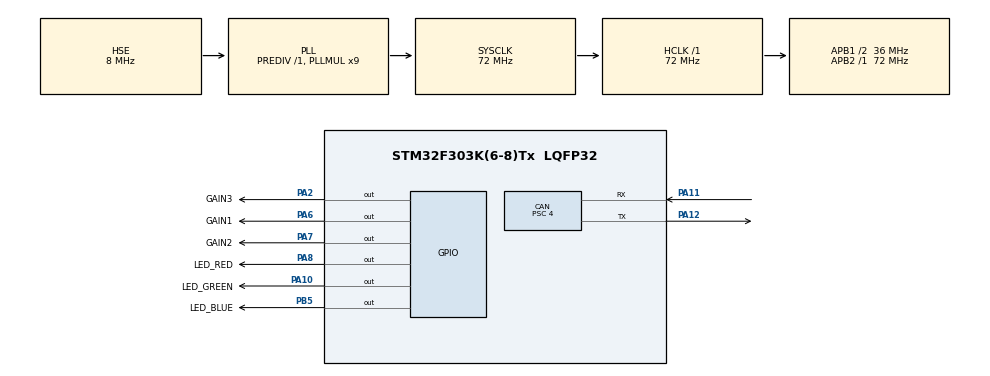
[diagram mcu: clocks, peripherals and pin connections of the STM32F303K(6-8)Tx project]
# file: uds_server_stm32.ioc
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CAN.BS1=CAN_BS1_7TQ
CAN.CalculateTimeQuantum=111.11111111111111
CAN.Prescaler=4
Mcu.Family=STM32F3
Mcu.Name=STM32F303K(6-8)Tx
Mcu.Package=LQFP32
NVIC.CAN_RX0_IRQn=true\:0\:0\:false\:false\:true\:true
NVIC.PriorityGroup=NVIC_PRIORITYGROUP_4
PA1.GPIO_Label=SIM_SYNC
PA1.Signal=S_TIM2_CH2
PA10.GPIO_Label=LED_GREEN
PA10.Signal=GPIO_Output
PA11.Mode=Master
PA11.Signal=CAN_RX
PA12.Mode=Master
PA12.Signal=CAN_TX
PA13.GPIO_Label=SWDIO
PA13.Mode=Trace_Asynchronous_SW
PA13.Signal=SYS_JTMS-SWDIO
PA14.GPIO_Label=SWCLK
PA14.Mode=Trace_Asynchronous_SW
PA14.Signal=SYS_JTCK-SWCLK
PA2.GPIO_Label=GAIN3
PA2.Signal=GPIO_Output
PA4.GPIO_Label=ADC_IR_CURR
PA4.Signal=ADC2_IN1
PA6.GPIO_Label=GAIN1
PA6.Signal=GPIO_Output
PA7.GPIO_Label=GAIN2
PA7.Signal=GPIO_Output
PA8.GPIO_Label=LED_RED
PA8.Signal=GPIO_Output
PB1.GPIO_Label=SIGNAL_OUT
PB1.Signal=S_TIM3_CH4
PB3.GPIO_Label=TRACESWO
PB3.Mode=Trace_Asynchronous_SW
PB3.Signal=SYS_JTDO-TRACESWO
PB4.Signal=S_TIM16_CH1
PB5.GPIO_Label=LED_BLUE
PB5.Signal=GPIO_Output
PB7.Signal=USART1_RX
PF0\ /\ OSC_IN.GPIO_Label=OSC_IN
PF0\ /\ OSC_IN.Mode=HSE-External-Clock-Source
PF0\ /\ OSC_IN.Signal=RCC_OSC_IN
ProjectManager.HeapSize=0x200
ProjectManager.StackSize=0x400
ProjectManager.TargetToolchain=TrueSTUDIO
RCC.AHBFreq_Value=72000000
RCC.APB1CLKDivider=RCC_HCLK_DIV2
RCC.APB1Freq_Value=36000000
RCC.APB1TimFreq_Value=72000000
RCC.APB2Freq_Value=72000000
RCC.APB2TimFreq_Value=72000000
RCC.CortexFreq_Value=72000000
RCC.HCLKFreq_Value=72000000
RCC.HSE_VALUE=8000000
RCC.HSI_VALUE=8000000
RCC.PLLMUL=RCC_PLL_MUL9
RCC.PLLSourceVirtual=RCC_PLLSOURCE_HSE
RCC.SYSCLKFreq_VALUE=72000000
RCC.SYSCLKSourceVirtual=RCC_SYSCLKSOURCE_PLLCLK
RCC.Usart1ClockSelection=RCC_USART1CLKSOURCE_SYSCLK
SH.S_TIM16_CH1.0=TIM16_CH1
SH.S_TIM2_CH2.0=TIM2_CH2
SH.S_TIM3_CH4.0=TIM3_CH4
board=custom

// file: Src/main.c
/**
  ******************************************************************************
  * @file           : main.c
  * @brief          : Main program body
  ******************************************************************************
  ** This notice applies to any and all portions of this file
  * that are not between comment pairs USER CODE BEGIN and
  * USER CODE END. Other portions of this file, whether
  * inserted by the user or by software development tools
  * are owned by their respective copyright owners.
  *
  * COPYRIGHT(c) 2019 STMicroelectronics
  *
  * Redistribution and use in source and binary forms, with or without modification,
  * are permitted provided that the following conditions are met:
  *   1. Redistributions of source code must retain the above copyright notice,
  *      this list of conditions and the following disclaimer.
  *   2. Redistributions in binary form must reproduce the above copyright notice,
  *      this list of conditions and the following disclaimer in the documentation
  *      and/or other materials provided with the distribution.
  *   3. Neither the name of STMicroelectronics nor the names of its contributors
  *      may be used to endorse or promote products derived from this software
  *      without specific prior written permission.
  *
  * THIS SOFTWARE IS PROVIDED BY THE COPYRIGHT HOLDERS AND CONTRIBUTORS "AS IS"
  * AND ANY EXPRESS OR IMPLIED WARRANTIES, INCLUDING, BUT NOT LIMITED TO, THE
  * IMPLIED WARRANTIES OF MERCHANTABILITY AND FITNESS FOR A PARTICULAR PURPOSE ARE
  * DISCLAIMED. IN NO EVENT SHALL THE COPYRIGHT HOLDER OR CONTRIBUTORS BE LIABLE
  * FOR ANY DIRECT, INDIRECT, INCIDENTAL, SPECIAL, EXEMPLARY, OR CONSEQUENTIAL
  * DAMAGES (INCLUDING, BUT NOT LIMITED TO, PROCUREMENT OF SUBSTITUTE GOODS OR
  * SERVICES; LOSS OF USE, DATA, OR PROFITS; OR BUSINESS INTERRUPTION) HOWEVER
  * CAUSED AND ON ANY THEORY OF LIABILITY, WHETHER IN CONTRACT, STRICT LIABILITY,
  * OR TORT (INCLUDING NEGLIGENCE OR OTHERWISE) ARISING IN ANY WAY OUT OF THE USE
  * OF THIS SOFTWARE, EVEN IF ADVISED OF THE POSSIBILITY OF SUCH DAMAGE.
  *
  ******************************************************************************
  */
#include "main.h"
#include "stm32f3xx_hal.h"

/* USER CODE BEGIN Includes */
#include <linux/can.h>
#include <linux/can/raw.h>

#include "uds-server.h"
/* USER CODE END Includes */

CAN_HandleTypeDef hcan;

/* USER CODE BEGIN PV */
/* Private variables ---------------------------------------------------------*/
CAN_RxHeaderTypeDef RxMessage;
struct canfd_frame frame;
/* USER CODE END PV */

void SystemClock_Config(void);
static void MX_GPIO_Init(void);
static void MX_CAN_Init(void);

/* USER CODE BEGIN PFP */
/* Private function prototypes -----------------------------------------------*/
/* USER CODE END PFP */

int main(void)
{

  /* MCU Configuration----------------------------------------------------------*/

  /* Reset of all peripherals, Initializes the Flash interface and the Systick. */
  HAL_Init();

  /* Configure the system clock */
  SystemClock_Config();

  /* Initialize all configured peripherals */
  MX_GPIO_Init();
  MX_CAN_Init();
  /* USER CODE BEGIN 2 */
  if (HAL_CAN_Init(&hcan) != HAL_OK) {
    Error_Handler();
  }

  /*##-2- Configure the CAN Filter ###########################################*/
  CAN_FilterTypeDef  sFilterConfig;
  sFilterConfig.FilterBank = 0;
  sFilterConfig.FilterMode = CAN_FILTERMODE_IDMASK;
  sFilterConfig.FilterScale = CAN_FILTERSCALE_32BIT;
  sFilterConfig.FilterIdHigh = 0x0000;
  sFilterConfig.FilterIdLow = 0x0000;
  sFilterConfig.FilterMaskIdHigh = 0x0000;
  sFilterConfig.FilterMaskIdLow = 0x0000;
  sFilterConfig.FilterFIFOAssignment = CAN_RX_FIFO0;
  sFilterConfig.FilterActivation = ENABLE;
  sFilterConfig.SlaveStartFilterBank = 14;

  if (HAL_CAN_ConfigFilter(&hcan, &sFilterConfig) != HAL_OK)
  {
    /* Filter configuration Error */
    Error_Handler();
  }

  if (HAL_CAN_Start(&hcan) != HAL_OK) {
    Error_Handler();
  }
  /* USER CODE END 2 */

  /* Infinite loop */
  while (1)
  {
    if (HAL_CAN_GetRxMessage(&hcan, CAN_RX_FIFO0, &RxMessage, frame.data) == HAL_OK) {
      frame.len = RxMessage.DLC;
      frame.can_id = RxMessage.ExtId;
      handle_pkt(frame);
    }
    handle_pending_data();
    /*uint8_t data[5] = "MIKI";
    uint32_t mb;
    CAN_TxHeaderTypeDef header;
    header.DLC = 4;
    header.ExtId = 42;
    header.IDE = CAN_ID_EXT;
    header.RTR = CAN_RTR_DATA;
    HAL_CAN_AddTxMessage(&hcan, &header, data, &mb);
    HAL_Delay(1000);*/
  }

}

void SystemClock_Config(void)
{

  RCC_OscInitTypeDef RCC_OscInitStruct;
  RCC_ClkInitTypeDef RCC_ClkInitStruct;

    /**Initializes the CPU, AHB and APB busses clocks
    */
  RCC_OscInitStruct.OscillatorType = RCC_OSCILLATORTYPE_HSE;
  RCC_OscInitStruct.HSEState = RCC_HSE_BYPASS;
  RCC_OscInitStruct.HSEPredivValue = RCC_HSE_PREDIV_DIV1;
  RCC_OscInitStruct.HSIState = RCC_HSI_ON;
  RCC_OscInitStruct.PLL.PLLState = RCC_PLL_ON;
  RCC_OscInitStruct.PLL.PLLSource = RCC_PLLSOURCE_HSE;
  RCC_OscInitStruct.PLL.PLLMUL = RCC_PLL_MUL9;
  if (HAL_RCC_OscConfig(&RCC_OscInitStruct) != HAL_OK)
  {
    _Error_Handler(__FILE__, __LINE__);
  }

    /**Initializes the CPU, AHB and APB busses clocks
    */
  RCC_ClkInitStruct.ClockType = RCC_CLOCKTYPE_HCLK|RCC_CLOCKTYPE_SYSCLK
                              |RCC_CLOCKTYPE_PCLK1|RCC_CLOCKTYPE_PCLK2;
  RCC_ClkInitStruct.SYSCLKSource = RCC_SYSCLKSOURCE_PLLCLK;
  RCC_ClkInitStruct.AHBCLKDivider = RCC_SYSCLK_DIV1;
  RCC_ClkInitStruct.APB1CLKDivider = RCC_HCLK_DIV2;
  RCC_ClkInitStruct.APB2CLKDivider = RCC_HCLK_DIV1;

  if (HAL_RCC_ClockConfig(&RCC_ClkInitStruct, FLASH_LATENCY_2) != HAL_OK)
  {
    _Error_Handler(__FILE__, __LINE__);
  }

    /**Configure the Systick interrupt time
    */
  HAL_SYSTICK_Config(HAL_RCC_GetHCLKFreq()/1000);

    /**Configure the Systick
    */
  HAL_SYSTICK_CLKSourceConfig(SYSTICK_CLKSOURCE_HCLK);

  /* SysTick_IRQn interrupt configuration */
  HAL_NVIC_SetPriority(SysTick_IRQn, 0, 0);
}

/* CAN init function */
static void MX_CAN_Init(void)
{

  hcan.Instance = CAN;
  hcan.Init.Prescaler = 4;
  hcan.Init.Mode = CAN_MODE_NORMAL;
  hcan.Init.SyncJumpWidth = CAN_SJW_1TQ;
  hcan.Init.TimeSeg1 = CAN_BS1_7TQ;
  hcan.Init.TimeSeg2 = CAN_BS2_1TQ;
  hcan.Init.TimeTriggeredMode = DISABLE;
  hcan.Init.AutoBusOff = DISABLE;
  hcan.Init.AutoWakeUp = DISABLE;
  hcan.Init.AutoRetransmission = DISABLE;
  hcan.Init.ReceiveFifoLocked = DISABLE;
  hcan.Init.TransmitFifoPriority = DISABLE;
  if (HAL_CAN_Init(&hcan) != HAL_OK)
  {
    _Error_Handler(__FILE__, __LINE__);
  }

}

/** Configure pins as
        * Analog
        * Input
        * Output
        * EVENT_OUT
        * EXTI
     PA1   ------> S_TIM2_CH2
     PA4   ------> ADC2_IN1
     PB1   ------> S_TIM3_CH4
     PB4   ------> S_TIM16_CH1
     PB7   ------> USART1_RX
*/
static void MX_GPIO_Init(void)
{

  GPIO_InitTypeDef GPIO_InitStruct;

  /* GPIO Ports Clock Enable */
  __HAL_RCC_GPIOF_CLK_ENABLE();
  __HAL_RCC_GPIOA_CLK_ENABLE();
  __HAL_RCC_GPIOB_CLK_ENABLE();

  /*Configure GPIO pin Output Level */
  HAL_GPIO_WritePin(GPIOA, GAIN3_Pin|GAIN1_Pin|GAIN2_Pin|LED_RED_Pin
                          |LED_GREEN_Pin, GPIO_PIN_RESET);

  /*Configure GPIO pin Output Level */
  HAL_GPIO_WritePin(LED_BLUE_GPIO_Port, LED_BLUE_Pin, GPIO_PIN_RESET);

  /*Configure GPIO pin : SIM_SYNC_Pin */
  GPIO_InitStruct.Pin = SIM_SYNC_Pin;
  GPIO_InitStruct.Mode = GPIO_MODE_AF_PP;
  GPIO_InitStruct.Pull = GPIO_NOPULL;
  GPIO_InitStruct.Speed = GPIO_SPEED_FREQ_LOW;
  GPIO_InitStruct.Alternate = GPIO_AF1_TIM2;
  HAL_GPIO_Init(SIM_SYNC_GPIO_Port, &GPIO_InitStruct);

  /*Configure GPIO pins : GAIN3_Pin GAIN1_Pin GAIN2_Pin LED_RED_Pin
                           LED_GREEN_Pin */
  GPIO_InitStruct.Pin = GAIN3_Pin|GAIN1_Pin|GAIN2_Pin|LED_RED_Pin
                          |LED_GREEN_Pin;
  GPIO_InitStruct.Mode = GPIO_MODE_OUTPUT_PP;
  GPIO_InitStruct.Pull = GPIO_NOPULL;
  GPIO_InitStruct.Speed = GPIO_SPEED_FREQ_LOW;
  HAL_GPIO_Init(GPIOA, &GPIO_InitStruct);

  /*Configure GPIO pin : ADC_IR_CURR_Pin */
  GPIO_InitStruct.Pin = ADC_IR_CURR_Pin;
  GPIO_InitStruct.Mode = GPIO_MODE_ANALOG;
  GPIO_InitStruct.Pull = GPIO_NOPULL;
  HAL_GPIO_Init(ADC_IR_CURR_GPIO_Port, &GPIO_InitStruct);

  /*Configure GPIO pin : SIGNAL_OUT_Pin */
  GPIO_InitStruct.Pin = SIGNAL_OUT_Pin;
  GPIO_InitStruct.Mode = GPIO_MODE_AF_PP;
  GPIO_InitStruct.Pull = GPIO_NOPULL;
  GPIO_InitStruct.Speed = GPIO_SPEED_FREQ_LOW;
  GPIO_InitStruct.Alternate = GPIO_AF2_TIM3;
  HAL_GPIO_Init(SIGNAL_OUT_GPIO_Port, &GPIO_InitStruct);

  /*Configure GPIO pin : PB4 */
  GPIO_InitStruct.Pin = GPIO_PIN_4;
  GPIO_InitStruct.Mode = GPIO_MODE_AF_PP;
  GPIO_InitStruct.Pull = GPIO_NOPULL;
  GPIO_InitStruct.Speed = GPIO_SPEED_FREQ_LOW;
  GPIO_InitStruct.Alternate = GPIO_AF1_TIM16;
  HAL_GPIO_Init(GPIOB, &GPIO_InitStruct);

  /*Configure GPIO pin : LED_BLUE_Pin */
  GPIO_InitStruct.Pin = LED_BLUE_Pin;
  GPIO_InitStruct.Mode = GPIO_MODE_OUTPUT_PP;
  GPIO_InitStruct.Pull = GPIO_NOPULL;
  GPIO_InitStruct.Speed = GPIO_SPEED_FREQ_LOW;
  HAL_GPIO_Init(LED_BLUE_GPIO_Port, &GPIO_InitStruct);

  /*Configure GPIO pin : PB7 */
  GPIO_InitStruct.Pin = GPIO_PIN_7;
  GPIO_InitStruct.Mode = GPIO_MODE_AF_PP;
  GPIO_InitStruct.Pull = GPIO_NOPULL;
  GPIO_InitStruct.Speed = GPIO_SPEED_FREQ_HIGH;
  GPIO_InitStruct.Alternate = GPIO_AF7_USART1;
  HAL_GPIO_Init(GPIOB, &GPIO_InitStruct);

}

void _Error_Handler(char *file, int line)
{
  while(1)
  {
  }
}

/************************ (C) COPYRIGHT STMicroelectronics *****END OF FILE****/
